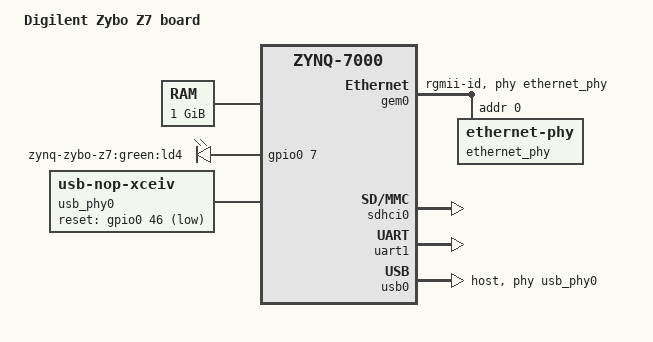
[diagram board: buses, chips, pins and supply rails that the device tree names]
// SPDX-License-Identifier: GPL-2.0+
/dts-v1/;
#include "zynq-7000.dtsi"
#include <dt-bindings/gpio/gpio.h>

/ {
	model = "Digilent Zybo Z7 board";
	compatible = "digilent,zynq-zybo-z7", "xlnx,zynq-7000";

	aliases {
		ethernet0 = &gem0;
		serial0 = &uart1;
	};

	memory@0 {
		device_type = "memory";
		reg = <0x0 0x40000000>;
	};

	chosen {
		bootargs = "";
		stdout-path = "serial0:115200n8";
	};

	gpio-leds {
		compatible = "gpio-leds";

		led-ld4 {
			label = "zynq-zybo-z7:green:ld4";
			gpios = <&gpio0 7 GPIO_ACTIVE_HIGH>;
		};
	};

	usb_phy0: phy0 {
		#phy-cells = <0>;
		compatible = "usb-nop-xceiv";
		reset-gpios = <&gpio0 46 GPIO_ACTIVE_LOW>;
	};
};

&clkc {
	ps-clk-frequency = <33333333>;
};

&gem0 {
	status = "okay";
	phy-mode = "rgmii-id";
	phy-handle = <&ethernet_phy>;

	ethernet_phy: ethernet-phy@0 {
		reg = <0>;
		device_type = "ethernet-phy";
	};
};

&sdhci0 {
	status = "okay";
};

&uart1 {
	status = "okay";
};

&usb0 {
	status = "okay";
	dr_mode = "host";
	usb-phy = <&usb_phy0>;
};
